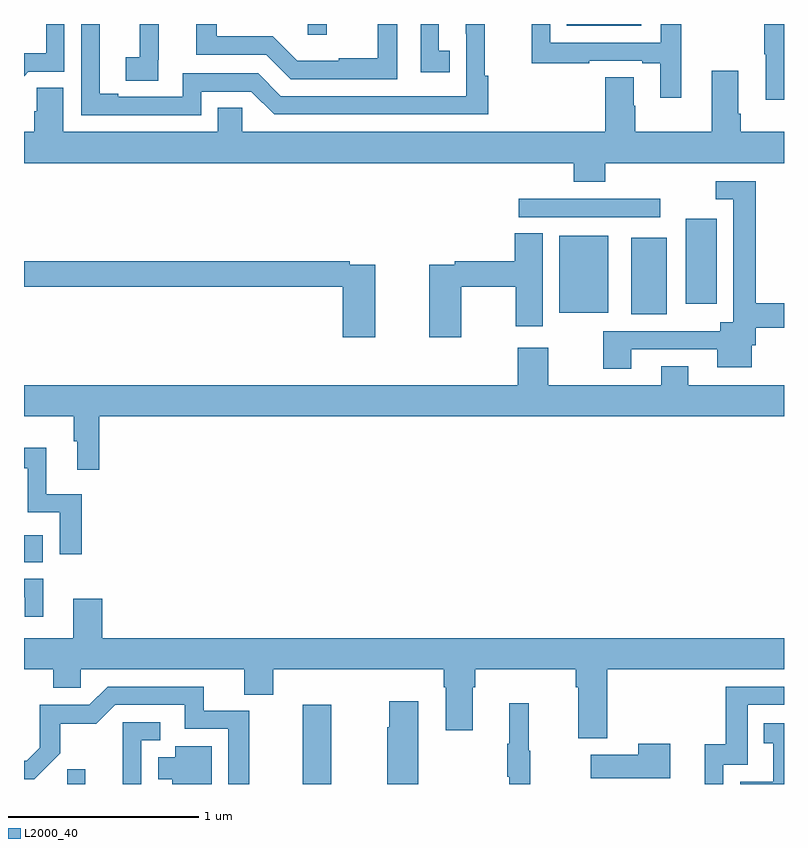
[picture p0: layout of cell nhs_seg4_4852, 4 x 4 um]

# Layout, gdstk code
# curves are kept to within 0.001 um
import gdstk
lib = gdstk.Library(unit=1e-6, precision=1e-09)
def R(c, l, rs):  # rectangles x0, y0, x1, y1
    for r in rs: c.add(gdstk.rectangle(r[:2], r[2:], *l))
def P(c, l, *ps):  # polygons
    for p in ps: c.add(gdstk.Polygon(p, *l))
L2000_40 = (2000, 40)

nhs_seg4_4852 = lib.new_cell('nhs_seg4_4852')
R(nhs_seg4_4852, L2000_40, [(373.228,778.9,373.322,778.977), (374.467,778.9,374.616,779.317), (373,780.068,373.099,780.208), (376.196,781.373,376.384,781.774), (375.818,781.379,376.075,781.786), (376.484,781.428,376.645,781.876), (375.603,781.884,376.348,781.98), (374.493,782.844,374.594,782.9), (375.856,782.891,376.249,782.9)])
P(nhs_seg4_4852, L2000_40, [(373.932,782.544),(374.196,782.544),(374.316,782.424),(375.443,782.424),(375.443,782.627),(375.426,782.627),(375.426,782.9),(375.326,782.9),(375.327,782.52),(374.352,782.52),(374.232,782.64),(373.836,782.64),(373.836,782.517),(373.495,782.517),(373.495,782.532),(373.399,782.532),(373.399,782.9),(373.302,782.9),(373.302,782.421),(373.932,782.421)],
  [(374.964,782.9),(374.863,782.9),(374.863,782.719),(374.657,782.719),(374.657,782.707),(374.438,782.707),(374.31,782.835),(374.014,782.835),(374.014,782.9),(373.907,782.9),(373.907,782.739),(374.274,782.739),(374.403,782.61),(374.964,782.61)],
  [(377,782.9),(376.897,782.9),(376.897,782.74),(376.904,782.74),(376.904,782.502),(377,782.502)],
  [(375.242,782.759),(375.184,782.759),(375.184,782.9),(375.087,782.9),(375.087,782.646),(375.242,782.646)],
  [(373.706,782.713),(373.708,782.713),(373.708,782.9),(373.61,782.9),(373.61,782.724),(373.536,782.724),(373.536,782.602),(373.706,782.602)],
  [(373.023,782.649),(373.212,782.649),(373.212,782.9),(373.116,782.9),(373.116,782.745),(373,782.745),(373,782.626)],
  [(376.459,782.9),(376.35,782.9),(376.35,782.802),(375.771,782.802),(375.771,782.9),(375.673,782.9),(375.673,782.694),(375.974,782.694),(375.974,782.706),(376.253,782.706),(376.253,782.694),(376.349,782.694),(376.349,782.511),(376.459,782.511)],
  [(376.058,782.168),(377,782.168),(377,782.332),(376.772,782.332),(376.772,782.428),(376.759,782.428),(376.759,782.653),(376.619,782.653),(376.619,782.332),(376.218,782.332),(376.218,782.471),(376.21,782.471),(376.21,782.621),(376.058,782.621),(376.058,782.332),(374.148,782.332),(374.148,782.459),(374.021,782.459),(374.021,782.332),(373.207,782.332),(373.207,782.564),(373.068,782.564),(373.068,782.441),(373.055,782.441),(373.055,782.332),(373,782.332),(373,782.168),(375.893,782.168),(375.893,782.069),(376.058,782.069)],
  [(376.195,781.188),(376.649,781.188),(376.649,781.094),(376.831,781.094),(376.831,781.208),(376.85,781.208),(376.85,781.302),(377,781.302),(377,781.43),(376.85,781.43),(376.85,782.073),(376.641,782.073),(376.641,781.977),(376.734,781.977),(376.734,781.33),(376.664,781.33),(376.664,781.284),(376.048,781.284),(376.048,781.086),(376.195,781.086)],
  [(375.3,781.516),(375.589,781.516),(375.589,781.308),(375.73,781.308),(375.73,781.799),(375.584,781.799),(375.584,781.652),(375.268,781.652),(375.268,781.632),(375.134,781.632),(375.134,781.251),(375.3,781.251)],
  [(374.848,781.632),(374.714,781.632),(374.714,781.652),(373,781.652),(373,781.516),(374.678,781.516),(374.678,781.251),(374.848,781.251)],
  [(373.397,780.836),(377,780.836),(377,781),(376.495,781),(376.495,781.099),(376.355,781.099),(376.355,781),(375.759,781),(375.759,781.195),(375.599,781.195),(375.599,781),(373,781),(373,780.836),(373.261,780.836),(373.261,780.704),(373.28,780.704),(373.28,780.555),(373.397,780.555)],
  [(373.304,780.426),(373.117,780.426),(373.117,780.67),(373,780.67),(373,780.561),(373.019,780.561),(373.019,780.33),(373.188,780.33),(373.188,780.108),(373.304,780.108)],
  [(373.102,779.979),(373,779.979),(373,779.883),(373.004,779.883),(373.004,779.781),(373.102,779.781)],
  [(376.07,779.504),(377,779.504),(377,779.668),(373.412,779.668),(373.412,779.875),(373.259,779.875),(373.259,779.668),(373,779.668),(373,779.504),(373.153,779.504),(373.153,779.406),(373.299,779.406),(373.299,779.504),(374.159,779.504),(374.159,779.371),(374.312,779.371),(374.312,779.504),(375.209,779.504),(375.209,779.408),(375.221,779.408),(375.221,779.184),(375.361,779.184),(375.361,779.408),(375.374,779.408),(375.374,779.504),(375.905,779.504),(375.905,779.408),(375.917,779.408),(375.917,779.142),(376.07,779.142)],
  [(374.185,779.286),(373.946,779.286),(373.946,779.412),(373.44,779.412),(373.344,779.316),(373.083,779.316),(373.083,779.091),(373.014,779.022),(373,779.022),(373,778.925),(373.054,778.925),(373.192,779.062),(373.192,779.218),(373.381,779.218),(373.479,779.316),(373.847,779.316),(373.847,779.19),(374.076,779.19),(374.076,778.9),(374.185,778.9)],
  [(376.68,779.001),(376.809,779.001),(376.809,779.316),(377,779.316),(377,779.412),(376.693,779.412),(376.693,779.11),(376.583,779.11),(376.583,778.9),(376.68,778.9)],
  [(375.076,779.335),(374.923,779.335),(374.923,779.199),(374.912,779.199),(374.912,778.9),(375.076,778.9)],
  [(375.664,779.076),(375.656,779.076),(375.656,779.326),(375.554,779.326),(375.554,779.113),(375.543,779.113),(375.543,778.939),(375.554,778.939),(375.554,778.9),(375.664,778.9)],
  [(373.617,779.13),(373.717,779.13),(373.717,779.226),(373.52,779.226),(373.52,778.9),(373.617,778.9)],
  [(377,779.221),(376.894,779.221),(376.894,779.115),(376.943,779.115),(376.943,778.911),(376.77,778.911),(376.77,778.9),(377,778.9)],
  [(376.402,779.113),(376.232,779.113),(376.232,779.053),(375.983,779.053),(375.983,778.931),(376.402,778.931)],
  [(373.987,779.098),(373.796,779.098),(373.796,779.041),(373.706,779.041),(373.706,778.925),(373.781,778.925),(373.781,778.9),(373.987,778.9)])

lib.write_gds('nhs_seg4_4852.gds')
